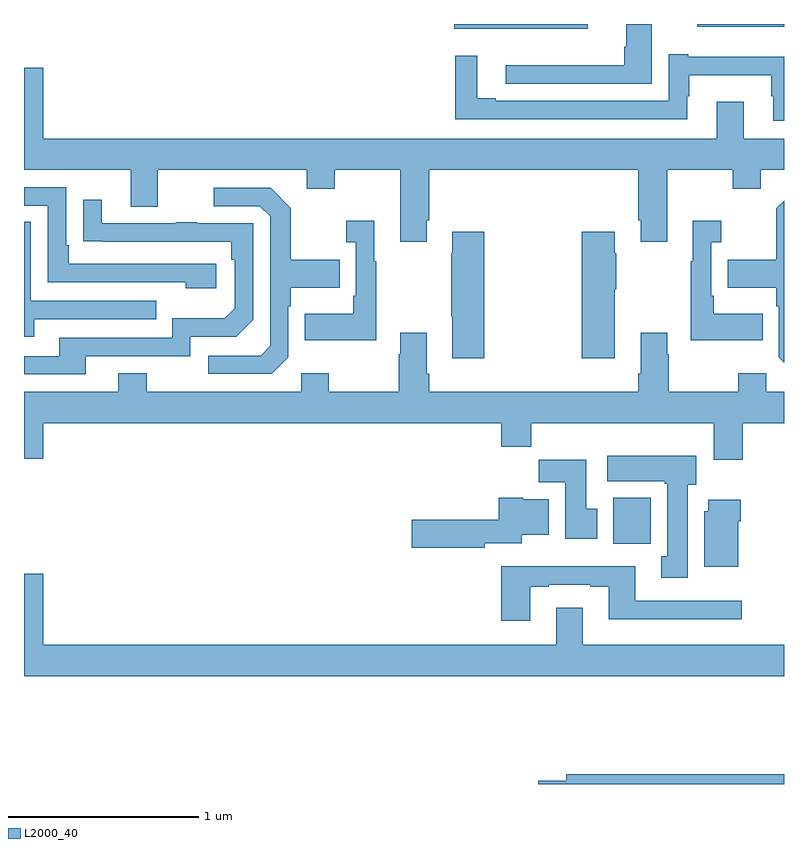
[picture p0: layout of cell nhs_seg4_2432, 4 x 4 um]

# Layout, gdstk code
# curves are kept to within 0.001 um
import gdstk
lib = gdstk.Library(unit=1e-6, precision=1e-09)
def R(c, l, rs):  # rectangles x0, y0, x1, y1
    for r in rs: c.add(gdstk.rectangle(r[:2], r[2:], *l))
def P(c, l, *ps):  # polygons
    for p in ps: c.add(gdstk.Polygon(p, *l))
L2000_40 = (2000, 40)

nhs_seg4_2432 = lib.new_cell('nhs_seg4_2432')
R(nhs_seg4_2432, L2000_40, [(240.101,816.164,240.298,816.406), (239.264,818.876,239.968,818.9), (240.543,818.885,241,818.9)])
P(nhs_seg4_2432, L2000_40, [(240.304,818.9),(240.17,818.9),(240.17,818.779),(240.158,818.779),(240.158,818.684),(239.535,818.684),(239.535,818.586),(240.304,818.586)],
  [(241,818.728),(240.496,818.728),(240.496,818.74),(240.393,818.74),(240.393,818.496),(239.482,818.496),(239.482,818.509),(239.386,818.509),(239.386,818.734),(239.269,818.734),(239.269,818.4),(240.49,818.4),(240.49,818.519),(240.502,818.519),(240.502,818.63),(240.933,818.63),(240.933,818.519),(240.944,818.519),(240.944,818.391),(241,818.391)],
  [(239.119,817.867),(239.132,817.867),(239.132,818.132),(240.233,818.132),(240.233,817.867),(240.245,817.867),(240.245,817.755),(240.385,817.755),(240.385,818.132),(240.73,818.132),(240.73,818.033),(240.877,818.033),(240.877,818.132),(241,818.132),(241,818.296),(240.787,818.296),(240.787,818.491),(240.647,818.491),(240.647,818.296),(237.1,818.296),(237.1,818.671),(237,818.671),(237,818.132),(237.563,818.132),(237.563,817.938),(237.703,817.938),(237.703,818.132),(238.487,818.132),(238.487,818.033),(238.635,818.033),(238.635,818.132),(238.979,818.132),(238.979,817.755),(239.119,817.755)],
  [(238.012,817.638),(237.235,817.638),(237.235,817.735),(237.222,817.735),(237.222,818.04),(237,818.04),(237,817.944),(237.126,817.944),(237.126,817.542),(237.851,817.542),(237.851,817.508),(238.012,817.508)],
  [(238.392,817.146),(238.392,817.415),(238.405,817.415),(238.405,817.511),(238.661,817.511),(238.661,817.659),(238.405,817.659),(238.405,817.931),(238.299,818.037),(237.999,818.037),(237.999,817.941),(238.242,817.941),(238.296,817.887),(238.296,817.206),(238.245,817.155),(237.969,817.155),(237.969,817.059),(238.305,817.059)],
  [(237.325,817.152),(237.876,817.152),(237.876,817.254),(238.116,817.254),(238.206,817.344),(238.206,817.851),(237.911,817.851),(237.911,817.856),(237.799,817.856),(237.799,817.851),(237.409,817.851),(237.409,817.975),(237.313,817.975),(237.313,817.756),(238.09,817.755),(238.09,817.658),(238.11,817.658),(238.11,817.404),(238.057,817.351),(237.78,817.351),(237.78,817.248),(237.185,817.248),(237.185,817.152),(237,817.152),(237,817.056),(237.325,817.056)],
  [(241,817.971),(240.96,817.931),(240.96,817.659),(240.703,817.659),(240.703,817.511),(240.96,817.511),(240.96,817.415),(240.972,817.415),(240.972,817.146),(241,817.118)],
  [(238.855,817.651),(238.843,817.651),(238.843,817.864),(238.695,817.864),(238.695,817.751),(238.746,817.751),(238.746,817.471),(238.734,817.471),(238.734,817.375),(238.477,817.375),(238.477,817.235),(238.855,817.235)],
  [(240.887,817.375),(240.631,817.375),(240.631,817.471),(240.618,817.471),(240.618,817.751),(240.67,817.751),(240.67,817.864),(240.521,817.864),(240.521,817.651),(240.51,817.651),(240.51,817.235),(240.887,817.235)],
  [(237.055,817.347),(237.695,817.347),(237.695,817.443),(237.036,817.443),(237.036,817.859),(237,817.859),(237,817.253),(237.055,817.253)],
  [(239.423,817.807),(239.255,817.807),(239.255,817.694),(239.248,817.694),(239.248,817.363),(239.255,817.363),(239.255,817.14),(239.423,817.14)],
  [(240.109,817.505),(240.117,817.505),(240.117,817.694),(240.109,817.694),(240.109,817.807),(239.936,817.807),(239.936,817.14),(240.109,817.14)],
  [(240.782,816.8),(241,816.8),(241,816.964),(240.906,816.964),(240.906,817.063),(240.76,817.063),(240.76,816.964),(240.393,816.964),(240.393,817.163),(240.385,817.163),(240.385,817.276),(240.245,817.276),(240.245,817.06),(240.233,817.06),(240.233,816.964),(239.132,816.964),(239.132,817.06),(239.119,817.06),(239.119,817.276),(238.979,817.276),(238.979,817.163),(238.972,817.163),(238.972,816.964),(238.605,816.964),(238.605,817.063),(238.458,817.063),(238.458,816.964),(237.645,816.964),(237.645,817.063),(237.497,817.063),(237.497,816.964),(237,816.964),(237,816.612),(237.1,816.612),(237.1,816.8),(239.513,816.8),(239.513,816.676),(239.669,816.676),(239.669,816.8),(240.629,816.8),(240.629,816.606),(240.782,816.606)],
  [(240.493,816.474),(240.538,816.474),(240.538,816.628),(240.069,816.628),(240.069,816.494),(240.373,816.494),(240.373,816.481),(240.386,816.481),(240.386,816.098),(240.353,816.098),(240.353,815.985),(240.493,815.985)],
  [(240.016,816.348),(239.959,816.348),(239.959,816.607),(239.71,816.607),(239.71,816.488),(239.849,816.488),(239.849,816.192),(240.016,816.192)],
  [(239.424,816.167),(239.62,816.167),(239.62,816.212),(239.761,816.212),(239.761,816.4),(239.628,816.4),(239.628,816.406),(239.498,816.406),(239.498,816.29),(239.04,816.29),(239.04,816.143),(239.424,816.143)],
  [(240.76,816.284),(240.773,816.284),(240.773,816.397),(240.602,816.397),(240.602,816.336),(240.581,816.336),(240.581,816.044),(240.76,816.044)],
  [(239.665,815.937),(239.761,815.937),(239.761,815.949),(239.981,815.949),(239.981,815.937),(240.077,815.937),(240.077,815.768),(240.778,815.768),(240.778,815.865),(240.217,815.865),(240.217,816.046),(239.513,816.046),(239.513,815.76),(239.665,815.76)],
  [(241,815.632),(239.941,815.632),(239.941,815.827),(239.801,815.827),(239.801,815.632),(237.1,815.632),(237.1,816.007),(237,816.007),(237,815.468),(241,815.468)],
  [(241,814.952),(239.855,814.952),(239.855,814.916),(239.706,814.916),(239.706,814.9),(241,814.9)])

lib.write_gds('nhs_seg4_2432.gds')
